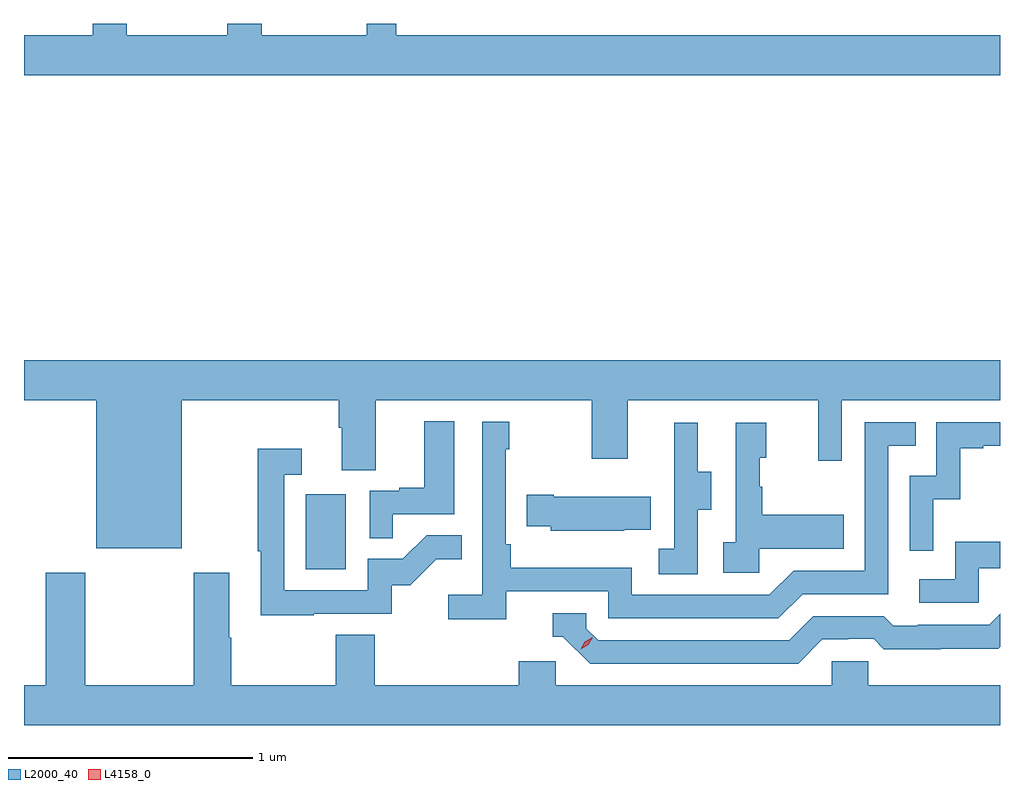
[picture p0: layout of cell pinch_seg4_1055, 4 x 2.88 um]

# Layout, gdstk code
import gdstk
lib = gdstk.Library(unit=1e-6, precision=1e-09)
def R(c, l, rs):  # rectangles x0, y0, x1, y1
    for r in rs: c.add(gdstk.rectangle(r[:2], r[2:], *l))
def P(c, l, *ps):  # polygons
    for p in ps: c.add(gdstk.Polygon(p, *l))
L2000_40 = (2000, 40)
L4158_0 = (4158, 0)

pinch_seg4_1055 = lib.new_cell('pinch_seg4_1055')
R(pinch_seg4_1055, L2000_40, [(840.422,752.172,840.586,752.479)])
P(pinch_seg4_1055, L2000_40, [(843.267,754.36),(840.793,754.36),(840.793,754.408),(840.671,754.408),(840.671,754.36),(840.241,754.36),(840.241,754.408),(840.101,754.408),(840.101,754.36),(839.689,754.36),(839.689,754.408),(839.549,754.408),(839.549,754.36),(839.267,754.36),(839.267,754.196),(843.267,754.196)],
  [(839.914,752.864),(840.557,752.864),(840.557,752.752),(840.569,752.752),(840.569,752.578),(840.709,752.578),(840.709,752.864),(841.594,752.864),(841.594,752.625),(841.741,752.625),(841.741,752.864),(842.522,752.864),(842.522,752.616),(842.619,752.616),(842.619,752.864),(843.267,752.864),(843.267,753.028),(839.267,753.028),(839.267,752.864),(839.564,752.864),(839.564,752.258),(839.914,752.258)],
  [(840.779,752.397),(841.03,752.397),(841.03,752.779),(840.908,752.779),(840.908,752.506),(840.805,752.506),(840.805,752.493),(840.684,752.493),(840.684,752.299),(840.779,752.299)],
  [(841.244,752.082),(841.662,752.082),(841.662,751.971),(842.359,751.971),(842.458,752.07),(842.808,752.07),(842.808,752.679),(842.921,752.679),(842.921,752.775),(842.712,752.775),(842.712,752.166),(842.421,752.166),(842.322,752.067),(841.758,752.067),(841.758,752.179),(841.262,752.179),(841.262,752.275),(841.242,752.275),(841.242,752.663),(841.255,752.663),(841.255,752.776),(841.146,752.776),(841.146,752.068),(841.005,752.068),(841.005,751.966),(841.244,751.966)],
  [(842.994,752.459),(843.104,752.459),(843.104,752.667),(843.199,752.667),(843.199,752.679),(843.267,752.679),(843.267,752.775),(843.006,752.775),(843.006,752.556),(842.898,752.556),(842.898,752.247),(842.994,752.247)],
  [(842.028,752.416),(842.083,752.416),(842.083,752.571),(842.029,752.571),(842.029,752.773),(841.931,752.773),(841.931,752.559),(841.932,752.559),(841.932,752.255),(841.869,752.255),(841.869,752.152),(842.028,752.152)],
  [(842.28,752.255),(842.627,752.255),(842.627,752.395),(842.293,752.395),(842.293,752.51),(842.283,752.51),(842.283,752.628),(842.308,752.628),(842.308,752.773),(842.184,752.773),(842.184,752.282),(842.133,752.282),(842.133,752.157),(842.28,752.157)],
  [(840.455,751.989),(840.774,751.989),(840.774,752.106),(840.85,752.106),(840.957,752.213),(841.061,752.213),(841.061,752.312),(840.918,752.312),(840.82,752.214),(840.675,752.214),(840.675,752.085),(840.333,752.085),(840.333,752.559),(840.406,752.559),(840.406,752.665),(840.225,752.665),(840.225,752.245),(840.237,752.245),(840.237,751.984),(840.455,751.984)],
  [(841.727,752.333),(841.835,752.333),(841.835,752.47),(841.438,752.47),(841.438,752.478),(841.327,752.478),(841.327,752.348),(841.425,752.348),(841.425,752.33),(841.727,752.33)],
  [(843.18,752.175),(843.267,752.175),(843.267,752.284),(843.084,752.284),(843.084,752.13),(842.937,752.13),(842.937,752.034),(843.18,752.034)],
  [(843.267,751.696),(842.727,751.696),(842.727,751.794),(842.577,751.794),(842.577,751.696),(841.446,751.696),(841.446,751.794),(841.295,751.794),(841.295,751.696),(840.704,751.696),(840.704,751.904),(840.544,751.904),(840.544,751.696),(840.117,751.696),(840.117,751.892),(840.109,751.892),(840.109,752.158),(839.962,752.158),(839.962,751.696),(839.517,751.696),(839.517,752.158),(839.357,752.158),(839.357,751.696),(839.267,751.696),(839.267,751.532),(843.267,751.532)],
  [(842.539,751.884),(842.646,751.884),(842.646,751.887),(842.749,751.887),(842.791,751.845),(843.024,751.845),(843.024,751.847),(843.26,751.847),(843.267,751.854),(843.267,751.989),(843.222,751.944),(842.929,751.944),(842.929,751.941),(842.83,751.941),(842.791,751.98),(842.502,751.98),(842.403,751.881),(841.62,751.881),(841.572,751.929),(841.572,751.992),(841.433,751.992),(841.433,751.896),(841.476,751.896),(841.587,751.785),(842.44,751.785)])
P(pinch_seg4_1055, L4158_0, [(841.549,751.843),(841.549,751.843),(841.566,751.875),(841.597,751.894),(841.597,751.894),(841.597,751.894),(841.58,751.862),(841.549,751.843)])

lib.write_gds('pinch_seg4_1055.gds')
